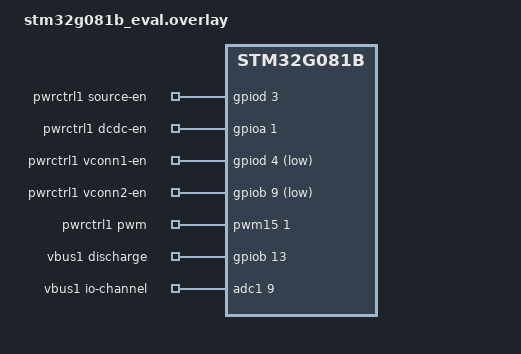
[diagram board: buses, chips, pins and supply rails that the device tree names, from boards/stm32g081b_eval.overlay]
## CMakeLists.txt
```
# SPDX-License-Identifier: Apache-2.0

cmake_minimum_required(VERSION 3.28.0)
find_package(Zephyr REQUIRED HINTS $ENV{ZEPHYR_BASE})
project(usb_c_sink)

target_sources(app PRIVATE src/main.c)

# Include common USB-C sample code
include(${CMAKE_CURRENT_SOURCE_DIR}/../common/common.cmake)
```

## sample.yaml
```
sample:
  name: USB-C SOURCE
tests:
  sample.usbc.source:
    depends_on: tcpc
    tags: usbc
    platform_allow: stm32g081b_eval
    harness: console
    harness_config:
      type: one_line
      regex:
        - "Unattached.SRC"
```

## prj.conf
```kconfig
CONFIG_USBC_STACK=y
CONFIG_USBC_CSM_SOURCE_ONLY=y
CONFIG_USBC_THREAD_PRIORITY=10
CONFIG_ADC=y
CONFIG_PWM=y
CONFIG_LOG=y
CONFIG_USBC_LOG_PD_MSG_NAMES=y
CONFIG_GPIO=y
```

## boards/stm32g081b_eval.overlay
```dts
/*
 * Copyright (c) 2023 The Chromium OS Authors.
 *
 * SPDX-License-Identifier: Apache-2.0
 *
 */

#include <zephyr/dt-bindings/usb-c/pd.h>

/ {
	aliases {
		usbc-port0 = &port1;
		usbc-port0-pwrctrl = &pwrctrl1;
	};

	/* usbc.rst pwrctrl start */
	pwrctrl1: pwrctrl {
		compatible = "zephyr,usb-c-pwrctrl";

		/* Pin D3 is used to enable VBUS Source */
		source-en-gpios = <&gpiod 3 GPIO_ACTIVE_HIGH>;

		/* Pin A1 is used for DCDC_EN */
		dcdc-en-gpios = <&gpioa 1 GPIO_ACTIVE_HIGH>;

		/* Pin D4 enables VCONN on CC1 */
		vconn1-en-gpios = <&gpiod 4 GPIO_ACTIVE_LOW>;

		/* Pin B9 enables VCONN on CC2 */
		vconn2-en-gpios = <&gpiob 9 GPIO_ACTIVE_LOW>;

		/* PWM for voltage selection */
		pwms = <&pwm15 1 PWM_USEC(50) PWM_POLARITY_INVERTED>;
	};
	/* usbc.rst pwrctrl end */

	/* usbc.rst vbus-voltage-divider-adc start */
	vbus1: vbus {
		compatible = "zephyr,usb-c-vbus-adc";
		io-channels = <&adc1 9>;
		output-ohms = <49900>;
		full-ohms = <(330000 + 49900)>;

		/* Pin B13 is used to control VBUS Discharge for Port1 */
		discharge-gpios = <&gpiob 13 GPIO_ACTIVE_HIGH>;
	};
	/* usbc.rst vbus-voltage-divider-adc end */

	ports {
		#address-cells = <1>;
		#size-cells = <0>;

		/* usbc.rst usbc-port start */
		port1: usbc-port@1 {
			compatible = "usb-c-connector";
			reg = <1>;
			tcpc = <&ucpd1>;
			vbus = <&vbus1>;
			power-role = "source";
			typec-power-opmode = "3.0A";
			source-pdos = <PDO_FIXED(5000, 100, 0) PDO_FIXED(9000, 100, 0)
				       PDO_FIXED(15000, 100, 0)>;
		};
		/* usbc.rst usbc-port end */
	};
};
```

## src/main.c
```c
/*
 * Copyright (c) 2023 The Chromium OS Authors.
 *
 * SPDX-License-Identifier: Apache-2.0
 */

#include <zephyr/kernel.h>
#include <zephyr/device.h>
#include <zephyr/devicetree.h>
#include <zephyr/usb_c/usbc.h>

#include <zephyr/logging/log.h>
LOG_MODULE_REGISTER(main, LOG_LEVEL_DBG);

#include <power_ctrl.h>

#define USBC_PORT0_NODE         DT_ALIAS(usbc_port0)
#define USBC_PORT0_PWRCTRL_NODE DT_ALIAS(usbc_port0_pwrctrl)

#if !DT_NODE_HAS_STATUS(USBC_PORT0_PWRCTRL_NODE, okay)
#error "Unsupported board: usbc-port0-pwrctrl devicetree alias is not defined"
#endif

BUILD_ASSERT(DT_ENUM_IDX(USBC_PORT0_NODE, power_role) == TC_ROLE_CAP_SOURCE,
	     "Unsupported board: Only Source device supported");

/* usbc.rst port data object start */
/**
 * @brief A structure that encapsulates Port data.
 */
static struct port0_data_t {
	/** Power controller device */
	const struct device *pwrctrl;
	/** Source Capabilities */
	uint32_t src_caps[DT_PROP_LEN(USBC_PORT0_NODE, source_pdos)];
	/** Number of Source Capabilities */
	int src_cap_cnt;
	/** CC Rp value */
	int rp;
	/** Sink Request RDO */
	union pd_rdo sink_request;
	/** Requested Object Pos */
	int obj_pos;
	/** VCONN CC line*/
	enum tc_cc_polarity vconn_pol;
	/** True if power supply is ready */
	bool ps_ready;
	/** True if power supply should transition to a new level */
	bool ps_tran_start;
	/** Log Sink Requested RDO to console */
	atomic_t show_sink_request;
} port0_data = {
	.rp = DT_ENUM_IDX(USBC_PORT0_NODE, typec_power_opmode),
	.src_caps = DT_PROP(USBC_PORT0_NODE, source_pdos),
	.src_cap_cnt = DT_PROP_LEN(USBC_PORT0_NODE, source_pdos),
};

/* usbc.rst port data object end */

static void dump_sink_request_rdo(const uint32_t rdo)
{
	union pd_rdo request;

	request.raw_value = rdo;

	LOG_INF("REQUEST RDO: %08x", rdo);
	LOG_INF("\tObject Position:\t %d", request.fixed.object_pos);
	LOG_INF("\tGiveback:\t\t %d", request.fixed.giveback);
	LOG_INF("\tCapability Mismatch:\t %d", request.fixed.cap_mismatch);
	LOG_INF("\tUSB Comm Capable:\t %d", request.fixed.usb_comm_capable);
	LOG_INF("\tNo USB Suspend:\t\t %d", request.fixed.no_usb_suspend);
	LOG_INF("\tUnchunk Ext MSG Support: %d", request.fixed.unchunked_ext_msg_supported);
	LOG_INF("\tOperating Current:\t %d mA",
		PD_CONVERT_FIXED_PDO_CURRENT_TO_MA(request.fixed.operating_current));
	if (request.fixed.giveback) {
		LOG_INF("\tMax Operating Current:\t %d mA",
			PD_CONVERT_FIXED_PDO_CURRENT_TO_MA(
				request.fixed.min_or_max_operating_current));
	} else {
		LOG_INF("\tMin Operating Current:\t %d mA",
			PD_CONVERT_FIXED_PDO_CURRENT_TO_MA(
				request.fixed.min_or_max_operating_current));
	}
}

/* usbc.rst callbacks start */
/**
 * @brief PE calls this function when it needs to set the Rp on CC
 */
int port0_policy_cb_get_src_rp(const struct device *dev, enum tc_rp_value *rp)
{
	struct port0_data_t *dpm_data = usbc_get_dpm_data(dev);

	*rp = dpm_data->rp;

	return 0;
}

/**
 * @brief PE calls this function to Enable (5V) or Disable (0V) the
 *	  Power Supply
 */
int port0_policy_cb_src_en(const struct device *dev, bool en)
{
	struct port0_data_t *dpm_data = usbc_get_dpm_data(dev);

	source_ctrl_set(dpm_data->pwrctrl, en ? SOURCE_5V : SOURCE_0V);

	return 0;
}

/**
 * @brief PE calls this function to Enable or Disable VCONN
 */
int port0_policy_cb_vconn_en(const struct device *tcpc_dev, const struct device *usbc_dev,
			     enum tc_cc_polarity pol, bool en)
{
	struct port0_data_t *dpm_data = usbc_get_dpm_data(usbc_dev);

	dpm_data->vconn_pol = pol;

	if (en == false) {
		/* Disable VCONN on CC1 and CC2 */
		vconn_ctrl_set(dpm_data->pwrctrl, VCONN_OFF);
	} else if (pol == TC_POLARITY_CC1) {
		/* set VCONN on CC1 */
		vconn_ctrl_set(dpm_data->pwrctrl, VCONN1_ON);
	} else {
		/* set VCONN on CC2 */
		vconn_ctrl_set(dpm_data->pwrctrl, VCONN2_ON);
	}

	return 0;
}

/**
 * @brief PE calls this function to get the Source Caps that will be sent
 *	  to the Sink
 */
int port0_policy_cb_get_src_caps(const struct device *dev, const uint32_t **pdos,
				 uint32_t *num_pdos)
{
	struct port0_data_t *dpm_data = usbc_get_dpm_data(dev);

	*pdos = dpm_data->src_caps;
	*num_pdos = dpm_data->src_cap_cnt;

	return 0;
}

/**
 * @brief PE calls this function to verify that a Sink's request if valid
 */
static enum usbc_snk_req_reply_t port0_policy_cb_check_sink_request(const struct device *dev,
								    const uint32_t request_msg)
{
	struct port0_data_t *dpm_data = usbc_get_dpm_data(dev);
	union pd_fixed_supply_pdo_source pdo;
	uint32_t obj_pos;
	uint32_t op_current;

	dpm_data->sink_request.raw_value = request_msg;
	obj_pos = dpm_data->sink_request.fixed.object_pos;
	op_current =
		PD_CONVERT_FIXED_PDO_CURRENT_TO_MA(dpm_data->sink_request.fixed.operating_current);

	if (obj_pos == 0 || obj_pos > dpm_data->src_cap_cnt) {
		return SNK_REQUEST_REJECT;
	}

	pdo.raw_value = dpm_data->src_caps[obj_pos - 1];

	if (dpm_data->sink_request.fixed.operating_current > pdo.max_current) {
		return SNK_REQUEST_REJECT;
	}

	dpm_data->obj_pos = obj_pos;

	atomic_set_bit(&port0_data.show_sink_request, 0);

	/*
	 * Clear PS ready. This will be set to true after PS is ready after
	 * it transitions to the new level.
	 */
	port0_data.ps_ready = false;

	return SNK_REQUEST_VALID;
}

/**
 * @brief PE calls this function to check if the Power Supply is at the requested
 *	  level
 */
static bool port0_policy_cb_is_ps_ready(const struct device *dev)
{
	struct port0_data_t *dpm_data = usbc_get_dpm_data(dev);

	/* Return true to inform that the Power Supply is ready */
	return dpm_data->ps_ready;
}

/**
 * @brief PE calls this function to check if the Present Contract is still
 *	  valid
 */
static bool port0_policy_cb_present_contract_is_valid(const struct device *dev,
						      const uint32_t present_contract)
{
	struct port0_data_t *dpm_data = usbc_get_dpm_data(dev);
	union pd_fixed_supply_pdo_source pdo;
	union pd_rdo request;
	uint32_t obj_pos;
	uint32_t op_current;

	request.raw_value = present_contract;
	obj_pos = request.fixed.object_pos;
	op_current = PD_CONVERT_FIXED_PDO_CURRENT_TO_MA(request.fixed.operating_current);

	if (obj_pos == 0 || obj_pos > dpm_data->src_cap_cnt) {
		return false;
	}

	pdo.raw_value = dpm_data->src_caps[obj_pos - 1];

	if (request.fixed.operating_current > pdo.max_current) {
		return false;
	}

	return true;
}

/* usbc.rst callbacks end */

/* usbc.rst notify start */
static void port0_notify(const struct device *dev, const enum usbc_policy_notify_t policy_notify)
{
	struct port0_data_t *dpm_data = usbc_get_dpm_data(dev);

	switch (policy_notify) {
	case PROTOCOL_ERROR:
		break;
	case MSG_DISCARDED:
		break;
	case MSG_ACCEPT_RECEIVED:
		break;
	case MSG_REJECTED_RECEIVED:
		break;
	case MSG_NOT_SUPPORTED_RECEIVED:
		break;
	case TRANSITION_PS:
		dpm_data->ps_tran_start = true;
		break;
	case PD_CONNECTED:
		break;
	case NOT_PD_CONNECTED:
		break;
	case DATA_ROLE_IS_UFP:
		break;
	case DATA_ROLE_IS_DFP:
		break;
	case PORT_PARTNER_NOT_RESPONSIVE:
		LOG_INF("Port Partner not PD Capable");
		break;
	case HARD_RESET_RECEIVED:
		/*
		 * This notification is sent from the PE_SRC_Transition_to_default
		 * state and requires the following:
		 *	1: Vconn should be turned OFF
		 *	2: Reset of the local hardware
		 */

		/* Power off VCONN */
		vconn_ctrl_set(dpm_data->pwrctrl, VCONN_OFF);
		/* Transition PS to Default level */
		source_ctrl_set(dpm_data->pwrctrl, SOURCE_5V);
		break;
	default:
	}
}
/* usbc.rst notify end */

/* usbc.rst check start */
bool port0_policy_check(const struct device *dev, const enum usbc_policy_check_t policy_check)
{
	struct port0_data_t *dpm_data = usbc_get_dpm_data(dev);

	switch (policy_check) {
	case CHECK_POWER_ROLE_SWAP:
		/* Reject power role swaps */
		return false;
	case CHECK_DATA_ROLE_SWAP_TO_DFP:
		/* Accept data role swap to DFP */
		return true;
	case CHECK_DATA_ROLE_SWAP_TO_UFP:
		/* Reject data role swap to UFP */
		return false;
	case CHECK_SRC_PS_AT_DEFAULT_LEVEL:
		/*
		 * This check is sent from the PE_SRC_Transition_to_default
		 * state and requires the following:
		 *	1: Vconn should be turned ON
		 *	2: Return TRUE when Power Supply is at default level
		 */

		/* Power on VCONN */
		vconn_ctrl_set(dpm_data->pwrctrl, dpm_data->vconn_pol);

		/* PS should be at default level after receiving a Hard Reset */
		return true;
	default:
		/* Reject all other policy checks */
		return false;
	}
}
/* usbc.rst check end */

int main(void)
{
	const struct device *usbc_port0;

	/* Get the device for this port */
	usbc_port0 = DEVICE_DT_GET(USBC_PORT0_NODE);
	if (!device_is_ready(usbc_port0)) {
		LOG_ERR("PORT0 device not ready");
		return 0;
	}

	/* Get the power controller device for this port */
	port0_data.pwrctrl = DEVICE_DT_GET(USBC_PORT0_PWRCTRL_NODE);
	if (!device_is_ready(port0_data.pwrctrl)) {
		LOG_ERR("PORT0 power controller not ready");
		return 0;
	}

	/* usbc.rst register start */
	/* Register USB-C Callbacks */

	/* Register Policy Check callback */
	usbc_set_policy_cb_check(usbc_port0, port0_policy_check);
	/* Register Policy Notify callback */
	usbc_set_policy_cb_notify(usbc_port0, port0_notify);
	/* Register Policy callback to set the Rp on CC lines */
	usbc_set_policy_cb_get_src_rp(usbc_port0, port0_policy_cb_get_src_rp);
	/* Register Policy callback to enable or disable power supply */
	usbc_set_policy_cb_src_en(usbc_port0, port0_policy_cb_src_en);
	/* Register Policy callback to enable or disable vconn */
	usbc_set_vconn_control_cb(usbc_port0, port0_policy_cb_vconn_en);
	/* Register Policy callback to send the source caps to the sink */
	usbc_set_policy_cb_get_src_caps(usbc_port0, port0_policy_cb_get_src_caps);
	/* Register Policy callback to check if the sink request is valid */
	usbc_set_policy_cb_check_sink_request(usbc_port0, port0_policy_cb_check_sink_request);
	/* Register Policy callback to check if the power supply is ready */
	usbc_set_policy_cb_is_ps_ready(usbc_port0, port0_policy_cb_is_ps_ready);
	/* Register Policy callback to check if Present Contract is still valid */
	usbc_set_policy_cb_present_contract_is_valid(usbc_port0,
						     port0_policy_cb_present_contract_is_valid);

	/* usbc.rst register end */

	/* usbc.rst user data start */
	/* Set Application port data object. This object is passed to the policy callbacks */
	usbc_set_dpm_data(usbc_port0, &port0_data);
	/* usbc.rst user data end */

	/* Flag to show sink request */
	port0_data.show_sink_request = ATOMIC_INIT(0);

	/* Init power supply transition start */
	port0_data.ps_tran_start = false;
	/* Init power supply ready */
	port0_data.ps_ready = false;

	/* usbc.rst usbc start */
	/* Start the USB-C Subsystem */
	usbc_start(usbc_port0);
	/* usbc.rst usbc end */

	while (1) {
		/* Perform Application Specific functions */

		/* Transition PS to new level */
		if (port0_data.ps_tran_start) {
			/*
			 * Transition Power Supply to new voltage.
			 * Okay if this blocks.
			 */
			source_ctrl_set(port0_data.pwrctrl, port0_data.obj_pos);
			port0_data.ps_ready = true;
			port0_data.ps_tran_start = false;
		}

		/* Display Sink Requests */
		if (atomic_test_and_clear_bit(&port0_data.show_sink_request, 0)) {
			/* Display the Sink request */
			dump_sink_request_rdo(port0_data.sink_request.raw_value);
		}
		/* Arbitrary delay */
		k_msleep(10);
	}

	return 0;
}
```

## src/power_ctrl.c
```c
/*
 * Copyright (c) 2023 The Chromium OS Authors.
 * Copyright (c) Qualcomm Technologies, Inc. and/or its subsidiaries.
 *
 * SPDX-License-Identifier: Apache-2.0
 */

#include <zephyr/kernel.h>
#include <zephyr/device.h>
#include <zephyr/devicetree.h>
#include <zephyr/drivers/adc.h>
#include <zephyr/drivers/gpio.h>
#include <zephyr/init.h>
#include <zephyr/usb_c/usbc.h>
#include <zephyr/drivers/pwm.h>

#include <zephyr/logging/log.h>
LOG_MODULE_REGISTER(power_ctrl, LOG_LEVEL_DBG);

#include "power_ctrl.h"

#define PORT1_DCDC_DETECT_NODE	DT_PATH(dcdc_detect)
#define PWRCTRL_NODE		DT_NODELABEL(pwrctrl)

/* DCDC Voltage is 19V and setting min threshold to 18V */
#define MIN_DCDC_DETECT_MV 18000

#define PWM_FOR_15V	45000
#define PWM_FOR_9V	30000
#define PWM_FOR_5V	21500
#define PWM_FOR_0V	0

/* Required properties */
static const struct gpio_dt_spec source_en = GPIO_DT_SPEC_GET(PWRCTRL_NODE, source_en_gpios);
static const struct gpio_dt_spec vconn1_en = GPIO_DT_SPEC_GET(PWRCTRL_NODE, vconn1_en_gpios);
static const struct gpio_dt_spec vconn2_en = GPIO_DT_SPEC_GET(PWRCTRL_NODE, vconn2_en_gpios);

/* Optional properties - use _GET_OR for graceful fallback */
static const struct gpio_dt_spec dcdc_en = GPIO_DT_SPEC_GET_OR(PWRCTRL_NODE, dcdc_en_gpios, {0});
static const struct pwm_dt_spec pwm_ctl = PWM_DT_SPEC_GET_OR(PWRCTRL_NODE, {0});

int vconn_ctrl_set(enum vconn_t v)
{
	switch (v) {
	case VCONN_OFF:
		gpio_pin_set_dt(&vconn1_en, 0);
		gpio_pin_set_dt(&vconn2_en, 0);
		break;
	case VCONN1_ON:
		gpio_pin_set_dt(&vconn1_en, 1);
		gpio_pin_set_dt(&vconn2_en, 0);
		break;
	case VCONN2_ON:
		gpio_pin_set_dt(&vconn1_en, 0);
		gpio_pin_set_dt(&vconn2_en, 1);
		break;
	};

	return 0;
}

int source_ctrl_set(enum source_t v)
{
	uint32_t pwmv;

	switch (v) {
	case SOURCE_0V:
		pwmv = PWM_FOR_0V;
		break;
	case SOURCE_5V:
		pwmv = PWM_FOR_5V;
		break;
	case SOURCE_9V:
		pwmv = PWM_FOR_9V;
		break;
	case SOURCE_15V:
		pwmv = PWM_FOR_15V;
		break;
	default:
		pwmv = PWM_FOR_0V;
	}

	return pwm_set_pulse_dt(&pwm_ctl, pwmv);
}

static int power_ctrl_init(void)
{
	int ret;

	if (!gpio_is_ready_dt(&source_en)) {
		LOG_ERR("Error: Source Enable device %s is not ready",
			source_en.port->name);
		return -ENODEV;
	}

	if (!gpio_is_ready_dt(&dcdc_en)) {
		LOG_ERR("Error: DCDC Enable device %s is not ready",
			dcdc_en.port->name);
		return -ENODEV;
	}

	if (!gpio_is_ready_dt(&vconn1_en)) {
		LOG_ERR("Error: VCONN1 Enable device %s is not ready",
			vconn1_en.port->name);
		return -ENODEV;
	}

	if (!gpio_is_ready_dt(&vconn2_en)) {
		LOG_ERR("Error: VCONN2 Enable device %s is not ready",
			vconn2_en.port->name);
		return -ENODEV;
	}

	if (!pwm_is_ready_dt(&pwm_ctl)) {
		LOG_ERR("Error: PWM CTL device is not ready");
		return -ENODEV;
	}

	ret = gpio_pin_configure_dt(&source_en, GPIO_OUTPUT);
	if (ret != 0) {
		LOG_ERR("Error %d: failed to configure Source Enable device %s pin %d",
			ret, source_en.port->name, source_en.pin);
		return ret;
	}

	ret = gpio_pin_configure_dt(&dcdc_en, GPIO_OUTPUT);
	if (ret != 0) {
		LOG_ERR("Error %d: failed to configure DCDC Enable device %s pin %d",
			ret, dcdc_en.port->name, dcdc_en.pin);
		return ret;
	}

	ret = gpio_pin_configure_dt(&vconn1_en, GPIO_OUTPUT | GPIO_OPEN_DRAIN);
	if (ret != 0) {
		LOG_ERR("Error %d: failed to configure VCONN1 Enable device %s pin %d",
			ret, vconn1_en.port->name, vconn1_en.pin);
		return ret;
	}

	ret = gpio_pin_configure_dt(&vconn2_en, GPIO_OUTPUT | GPIO_OPEN_DRAIN);
	if (ret != 0) {
		LOG_ERR("Error %d: failed to configure VCONN2 Enable device %s pin %d",
			ret, vconn2_en.port->name, vconn1_en.pin);
		return ret;
	}

	ret = gpio_pin_set_dt(&source_en, 1);
	if (ret != 0) {
		LOG_ERR("Error %d: failed to enable source", ret);
		return ret;
	}

	ret = gpio_pin_set_dt(&dcdc_en, 1);
	if (ret != 0) {
		LOG_ERR("Error %d: failed to enable dcdc converter", ret);
		return ret;
	}

	vconn_ctrl_set(VCONN_OFF);

	ret = source_ctrl_set(SOURCE_0V);
	if (ret != 0) {
		LOG_ERR("Error %d: failed to set VBUS to 0V", ret);
		return ret;
	}

	return 0;
}

SYS_INIT(power_ctrl_init, APPLICATION, CONFIG_KERNEL_INIT_PRIORITY_DEFAULT);
```

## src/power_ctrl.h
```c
/*
 * Copyright (c) 2023 The Chromium OS Authors
 *
 * SPDX-License-Identifier: Apache-2.0
 */

#ifndef _POWER_CTRL_H_
#define _POWER_CTRL_H_

/**
 * @brief VBUS levels
 */
enum source_t {
	/* VBUS off */
	SOURCE_0V,
	/* VBUS at default */
	SOURCE_5V,
	/* VBUS at 9V */
	SOURCE_9V,
	/* VBUS at 15V */
	SOURCE_15V
};

/**
 * @brief VCONN control
 */
enum vconn_t {
	/* VCONN OFF */
	VCONN_OFF,
	/* VCONN ON CC1 */
	VCONN1_ON,
	/* VCONN ON CC2 */
	VCONN2_ON
};

/**
 * @brief Control VCONN
 */
int vconn_ctrl_set(enum vconn_t v);

/**
 * @brief Control VBUS
 */
int source_ctrl_set(enum source_t v);

#endif /* _POWER_CTRL_H_ */
```
